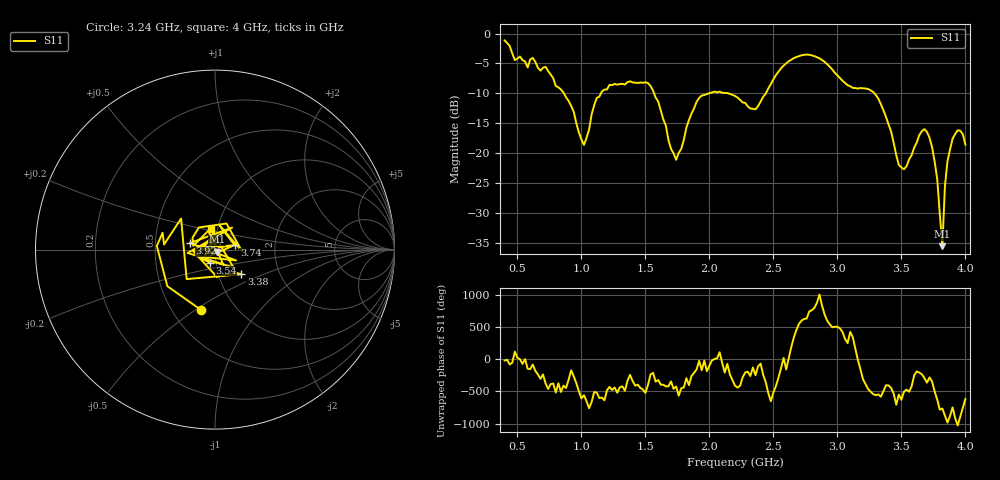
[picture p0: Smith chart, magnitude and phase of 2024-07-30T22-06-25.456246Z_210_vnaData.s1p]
!Created with skrf (http://scikit-rf.org).
# Hz S RI R 50.0
!freq ReS11 ImS11
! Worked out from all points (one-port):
!   181 points, 400 MHz to 4 GHz, reference 50 ohm
!   lowest |S11| = -35.6 dB at 3.82 GHz (marker M1), VSWR 1.03, Z = 51.2 - j1.2 ohm
!   |S11| at or under -10 dB: 1.568 GHz to 1.996 GHz (428 MHz wide, 24 % of centre); 2.149 GHz to 2.441 GHz (292.3 MHz wide, 12.7 % of centre); 3.289 GHz to end of sweep (the widest 3 of 4)
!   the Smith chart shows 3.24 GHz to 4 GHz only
!   S11 on the Smith chart (normalised r, x): 3.24 GHz: 0.69, -0.52; 3.38 GHz: 1.28, -0.37; 3.54 GHz: 0.93, -0.14; 3.74 GHz: 1.24, +0.06; 3.92 GHz: 0.75, +0.06; 4 GHz: 0.93, +0.22
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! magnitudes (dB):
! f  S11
! 400 MHz  -1.2
! 480 MHz  -4.4
! 860 MHz  -9.9
! 1.02 GHz  -18.6
! 1.12 GHz  -10.8
! 1.3 GHz  -8.5
! 1.54 GHz  -8.8
! 1.7 GHz  -19.3
! 1.76 GHz  -20.0
! 1.92 GHz  -10.8
! 2.2 GHz  -10.4
! 2.36 GHz  -12.7
! 2.66 GHz  -4.1
! 2.86 GHz  -4.2
! 3.1 GHz  -8.8
! 3.24 GHz  -9.3
! 3.38 GHz  -14.0
! 3.48 GHz  -22.0
! 3.54 GHz  -22.2
! 3.56 GHz  -21.1
! 3.68 GHz  -16.0
! 3.74 GHz  -19.0
! 3.78 GHz  -24.4
! 3.82 GHz  -35.6
! 3.84 GHz  -25.6
! 3.86 GHz  -21.3
! 3.92 GHz  -16.8
! 4 GHz  -18.6
